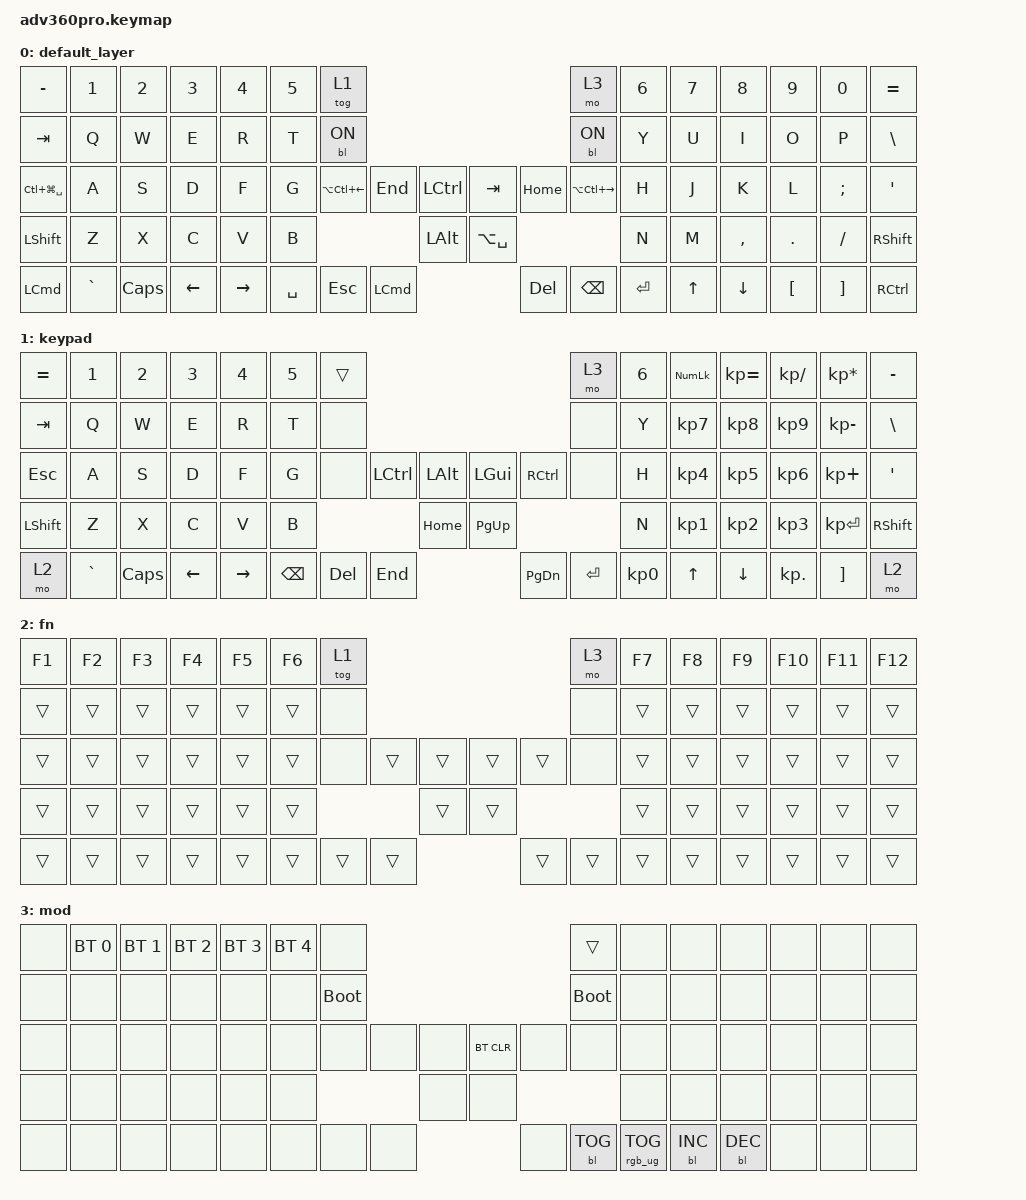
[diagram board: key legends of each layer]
#include <behaviors.dtsi>
#include <dt-bindings/zmk/backlight.h>
#include <dt-bindings/zmk/bt.h>
#include <dt-bindings/zmk/keys.h>
#include <dt-bindings/zmk/rgb.h>

/ {
    keymap {
        compatible = "zmk,keymap";

        default_layer {
            bindings = <
&kp MINUS          &kp N1     &kp N2    &kp N3          &kp N4     &kp N5  &tog 1                                                                                             &mo 3              &kp N6  &kp N7        &kp N8          &kp N9            &kp N0             &kp EQUAL
&kp TAB            &kp Q      &kp W     &kp E           &kp R      &kp T   &bl BL_ON                                                                                          &bl BL_ON          &kp Y   &kp U         &kp I           &kp O             &kp P              &kp BSLH
&kp LC(LG(SPACE))  &kp A      &kp S     &kp D           &kp F      &kp G   &kp LA(LC(LEFT))             &kp END  &kp LEFT_CONTROL    &kp TAB        &kp HOME                  &kp LA(LC(RIGHT))  &kp H   &kp J         &kp K           &kp L             &kp SEMICOLON      &kp APOS
&kp LEFT_SHIFT     &kp Z      &kp X     &kp C           &kp V      &kp B                                         &kp LEFT_ALT        &kp LA(SPACE)                                               &kp N   &kp M         &kp COMMA       &kp PERIOD        &kp SLASH          &kp RIGHT_SHIFT
&kp LEFT_COMMAND   &kp GRAVE  &kp CAPS  &kp LEFT_ARROW  &kp RIGHT                            &kp SPACE  &kp ESC  &kp LEFT_COMMAND    &kp DELETE     &kp BACKSPACE  &kp ENTER                             &kp UP_ARROW  &kp DOWN_ARROW  &kp LEFT_BRACKET  &kp RIGHT_BRACKET  &kp RIGHT_CONTROL
            >;
        };

        // default_layer {
        //     bindings = <
        //         &kp EQUAL &kp N1    &kp N2   &kp N3   &kp N4     &kp N5 &tog 1                                                           &mo 3 &kp N6 &kp N7 &kp N8    &kp N9   &kp N0   &kp MINUS
        //         &kp TAB   &kp Q     &kp W    &kp E    &kp R      &kp T  &none                                                            &none &kp Y  &kp U  &kp I     &kp O    &kp P    &kp BSLH
        //         &kp ESC   &kp A     &kp S    &kp D    &kp F      &kp G  &none           &kp LCTRL &kp LALT &kp LGUI  &kp RCTRL           &none &kp H  &kp J  &kp K     &kp L    &kp SEMI &kp SQT
        //         &kp LSHFT &kp Z     &kp X    &kp C    &kp V      &kp B                            &kp HOME &kp PG_UP                           &kp N  &kp M  &kp COMMA &kp DOT  &kp FSLH &kp RSHFT
        //         &mo 2     &kp GRAVE &kp CAPS &kp LEFT &kp RIGHT                &kp BSPC &kp DEL   &kp END  &kp PG_DN &kp ENTER &kp SPACE              &kp UP &kp DOWN  &kp LBKT &kp RBKT &mo 2
        //     >;
        // };

        keypad {
            bindings = <
&kp EQUAL  &kp N1     &kp N2    &kp N3    &kp N4     &kp N5  &trans                                                                    &mo 3  &kp N6  &kp KP_NUM  &kp KP_EQUAL  &kp KP_DIVIDE  &kp KP_MULTIPLY  &kp MINUS
&kp TAB    &kp Q      &kp W     &kp E     &kp R      &kp T   &none                                                                     &none  &kp Y   &kp KP_N7   &kp KP_N8     &kp KP_N9      &kp KP_MINUS     &kp BSLH
&kp ESC    &kp A      &kp S     &kp D     &kp F      &kp G   &none             &kp LCTRL  &kp LALT    &kp LGUI   &kp RCTRL             &none  &kp H   &kp KP_N4   &kp KP_N5     &kp KP_N6      &kp KP_PLUS      &kp SQT
&kp LSHFT  &kp Z      &kp X     &kp C     &kp V      &kp B                                &kp HOME    &kp PG_UP                               &kp N   &kp KP_N1   &kp KP_N2     &kp KP_N3      &kp KP_ENTER     &kp RSHFT
&mo 2      &kp GRAVE  &kp CAPS  &kp LEFT  &kp RIGHT                  &kp BSPC  &kp DEL    &kp END     &kp PG_DN  &kp ENTER  &kp KP_N0                 &kp UP      &kp DOWN      &kp KP_DOT     &kp RBKT         &mo 2
            >;
        };

        fn {
            bindings = <
&kp F1  &kp F2  &kp F3  &kp F4  &kp F5  &kp F6  &tog 1                                                    &mo 3  &kp F7  &kp F8  &kp F9  &kp F10  &kp F11  &kp F12
&trans  &trans  &trans  &trans  &trans  &trans  &none                                                     &none  &trans  &trans  &trans  &trans   &trans   &trans
&trans  &trans  &trans  &trans  &trans  &trans  &none           &trans  &trans    &trans  &trans          &none  &trans  &trans  &trans  &trans   &trans   &trans
&trans  &trans  &trans  &trans  &trans  &trans                          &trans    &trans                         &trans  &trans  &trans  &trans   &trans   &trans
&trans  &trans  &trans  &trans  &trans                  &trans  &trans  &trans    &trans  &trans  &trans                 &trans  &trans  &trans   &trans   &trans
            >;
        };

        mod {
            bindings = <
&none  &bt BT_SEL 0  &bt BT_SEL 1  &bt BT_SEL 2  &bt BT_SEL 3  &bt BT_SEL 4  &none                                                                        &trans       &none  &none       &none       &none  &none  &none
&none  &none         &none         &none         &none         &none         &bootloader                                                                  &bootloader  &none  &none       &none       &none  &none  &none
&none  &none         &none         &none         &none         &none         &none               &none  &none    &bt BT_CLR  &none                        &none        &none  &none       &none       &none  &none  &none
&none  &none         &none         &none         &none         &none                                    &none    &none                                                 &none  &none       &none       &none  &none  &none
&none  &none         &none         &none         &none                                    &none  &none  &none    &none       &bl BL_TOG  &rgb_ug RGB_TOG                      &bl BL_INC  &bl BL_DEC  &none  &none  &none
            >;
        };
    };
};
